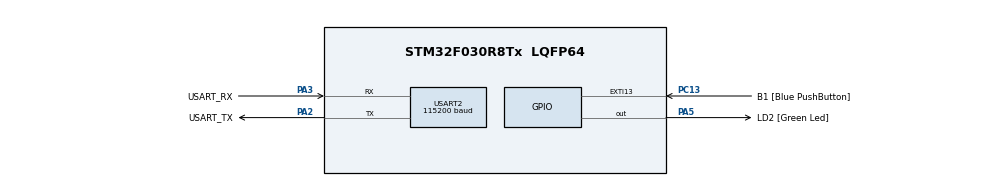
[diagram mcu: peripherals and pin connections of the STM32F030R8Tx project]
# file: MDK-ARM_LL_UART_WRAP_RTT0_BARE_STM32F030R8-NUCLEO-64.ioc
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Mcu.Family=STM32F0
Mcu.Name=STM32F030R8Tx
Mcu.Package=LQFP64
NVIC.USART2_IRQn=true\:0\:0\:false\:false\:true\:true\:true
PA13.GPIO_Label=TMS
PA13.Mode=Serial_Wire
PA13.Signal=SYS_SWDIO
PA14.GPIO_Label=TCK
PA14.Mode=Serial_Wire
PA14.Signal=SYS_SWCLK
PA2.GPIO_Label=USART_TX
PA2.GPIO_Mode=GPIO_MODE_AF_PP
PA2.GPIO_PuPd=GPIO_NOPULL
PA2.GPIO_Speed=GPIO_SPEED_FREQ_LOW
PA2.Mode=Asynchronous
PA2.Signal=USART2_TX
PA3.GPIO_Label=USART_RX
PA3.GPIO_Mode=GPIO_MODE_AF_PP
PA3.GPIO_PuPd=GPIO_NOPULL
PA3.GPIO_Speed=GPIO_SPEED_FREQ_LOW
PA3.Mode=Asynchronous
PA3.Signal=USART2_RX
PA5.GPIO_Label=LD2 [Green Led]
PA5.GPIO_Mode=GPIO_MODE_OUTPUT_PP
PA5.GPIO_PuPd=GPIO_NOPULL
PA5.GPIO_Speed=GPIO_SPEED_FREQ_LOW
PA5.Signal=GPIO_Output
PC13.GPIO_Label=B1 [Blue PushButton]
PC13.GPIO_ModeDefaultEXTI=GPIO_MODE_IT_FALLING
PC13.Signal=GPXTI13
PC14-OSC32_IN.Mode=LSE-External-Oscillator
PC14-OSC32_IN.Signal=RCC_OSC32_IN
PC15-OSC32_OUT.Mode=LSE-External-Oscillator
PC15-OSC32_OUT.Signal=RCC_OSC32_OUT
PF0-OSC_IN.Mode=HSE-External-Clock-Source
PF0-OSC_IN.Signal=RCC_OSC_IN
PF1-OSC_OUT.Signal=RCC_OSC_OUT
ProjectManager.HeapSize=0x200
ProjectManager.StackSize=0x400
ProjectManager.TargetToolchain=MDK-ARM V5.27
RCC.AHBFreq_Value=48000000
RCC.APB1Freq_Value=48000000
RCC.APB1TimFreq_Value=48000000
RCC.HCLKFreq_Value=48000000
RCC.PLLMUL=RCC_PLL_MUL12
RCC.SYSCLKFreq_VALUE=48000000
RCC.SYSCLKSource=RCC_SYSCLKSOURCE_PLLCLK
USART2.BaudRate=115200
USART2.VirtualMode-Asynchronous=VM_ASYNC
board=NUCLEO-F030R8

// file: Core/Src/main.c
/* USER CODE BEGIN Header */
/**
  ******************************************************************************
  * @file           : main.c
  * @brief          : Main program body
  ******************************************************************************
  * @attention
  *
  * <h2><center>&copy; Copyright (c) 2021 STMicroelectronics.
  * All rights reserved.</center></h2>
  *
  * This software component is licensed by ST under BSD 3-Clause license,
  * the "License"; You may not use this file except in compliance with the
  * License. You may obtain a copy of the License at:
  *                        opensource.org/licenses/BSD-3-Clause
  *
  ******************************************************************************
  */
/* USER CODE END Header */
#include "main.h"

/* USER CODE BEGIN Includes */
#include "trice.h"
/* USER CODE END Includes */

/* USER CODE BEGIN PV */
int milliSecond = 0;
/* USER CODE END PV */

void SystemClock_Config(void);
static void MX_GPIO_Init(void);
static void MX_USART2_UART_Init(void);

int main(void)
{
  /* USER CODE BEGIN 1 */
#ifdef ENCRYPT
    InitXteaTable();
#endif
  /* USER CODE END 1 */

  /* MCU Configuration--------------------------------------------------------*/

  /* Reset of all peripherals, Initializes the Flash interface and the Systick. */

  LL_APB1_GRP2_EnableClock(LL_APB1_GRP2_PERIPH_SYSCFG);
  LL_APB1_GRP1_EnableClock(LL_APB1_GRP1_PERIPH_PWR);

  /* System interrupt init*/

  /* Configure the system clock */
  SystemClock_Config();

  /* USER CODE BEGIN SysInit */
    SysTick->CTRL |= SysTick_CTRL_TICKINT_Msk; // enable SysTick interrupt
  /* USER CODE END SysInit */

  /* Initialize all configured peripherals */
  MX_GPIO_Init();
  MX_USART2_UART_Init();
  /* USER CODE BEGIN 2 */
    LL_USART_EnableIT_RXNE(TRICE_UART); // enable UART2 interrupt
    TRICE_HEADLINE;
  /* USER CODE END 2 */

  /* Infinite loop */
  /* USER CODE BEGIN WHILE */
  while (1)
  {
    static int lastTricesTime = 0;
    { // send some trices every few ms
        if( milliSecond >= lastTricesTime + 100 ){
            static int index = 0;
            int select = index % 30;
            TRICE_SYNC;
            TRICE16_2( Id(47663),"MSG: triceFifoMaxDepth = %d, select = %d\n", triceFifoMaxDepth, select );
            triceCheckSetTime(select);
            triceCheckSetSpace(select);
            index++;
            lastTricesTime = milliSecond;
        }
    }
    /* USER CODE END WHILE */

    /* USER CODE BEGIN 3 */
        { // serve every few ms
            static int lastMs = 0;
            if( milliSecond >= lastMs + 1 ){
                lastMs = milliSecond;
#ifdef TRICE_OUTPUT_WRAPPED
                triceServeFifoWrappedToBytesBuffer();
#else
			    triceServeFifoSyncedToBytesBuffer();
#endif
            }
        }
  }
  /* USER CODE END 3 */
}

void SystemClock_Config(void)
{
  LL_FLASH_SetLatency(LL_FLASH_LATENCY_1);
  while(LL_FLASH_GetLatency() != LL_FLASH_LATENCY_1)
  {
  }
  LL_RCC_HSI_Enable();

   /* Wait till HSI is ready */
  while(LL_RCC_HSI_IsReady() != 1)
  {

  }
  LL_RCC_HSI_SetCalibTrimming(16);
  LL_RCC_PLL_ConfigDomain_SYS(LL_RCC_PLLSOURCE_HSI_DIV_2, LL_RCC_PLL_MUL_12);
  LL_RCC_PLL_Enable();

   /* Wait till PLL is ready */
  while(LL_RCC_PLL_IsReady() != 1)
  {

  }
  LL_RCC_SetAHBPrescaler(LL_RCC_SYSCLK_DIV_1);
  LL_RCC_SetAPB1Prescaler(LL_RCC_APB1_DIV_1);
  LL_RCC_SetSysClkSource(LL_RCC_SYS_CLKSOURCE_PLL);

   /* Wait till System clock is ready */
  while(LL_RCC_GetSysClkSource() != LL_RCC_SYS_CLKSOURCE_STATUS_PLL)
  {

  }
  LL_Init1msTick(48000000);
  LL_SetSystemCoreClock(48000000);
}

static void MX_USART2_UART_Init(void)
{

  LL_USART_InitTypeDef USART_InitStruct = {0};

  LL_GPIO_InitTypeDef GPIO_InitStruct = {0};

  /* Peripheral clock enable */
  LL_APB1_GRP1_EnableClock(LL_APB1_GRP1_PERIPH_USART2);

  LL_AHB1_GRP1_EnableClock(LL_AHB1_GRP1_PERIPH_GPIOA);
  /**USART2 GPIO Configuration
  PA2   ------> USART2_TX
  PA3   ------> USART2_RX
  */
  GPIO_InitStruct.Pin = USART_TX_Pin;
  GPIO_InitStruct.Mode = LL_GPIO_MODE_ALTERNATE;
  GPIO_InitStruct.Speed = LL_GPIO_SPEED_FREQ_LOW;
  GPIO_InitStruct.OutputType = LL_GPIO_OUTPUT_PUSHPULL;
  GPIO_InitStruct.Pull = LL_GPIO_PULL_NO;
  GPIO_InitStruct.Alternate = LL_GPIO_AF_1;
  LL_GPIO_Init(USART_TX_GPIO_Port, &GPIO_InitStruct);

  GPIO_InitStruct.Pin = USART_RX_Pin;
  GPIO_InitStruct.Mode = LL_GPIO_MODE_ALTERNATE;
  GPIO_InitStruct.Speed = LL_GPIO_SPEED_FREQ_LOW;
  GPIO_InitStruct.OutputType = LL_GPIO_OUTPUT_PUSHPULL;
  GPIO_InitStruct.Pull = LL_GPIO_PULL_NO;
  GPIO_InitStruct.Alternate = LL_GPIO_AF_1;
  LL_GPIO_Init(USART_RX_GPIO_Port, &GPIO_InitStruct);

  /* USART2 interrupt Init */
  NVIC_SetPriority(USART2_IRQn, 0);
  NVIC_EnableIRQ(USART2_IRQn);

  USART_InitStruct.BaudRate = 115200;
  USART_InitStruct.DataWidth = LL_USART_DATAWIDTH_8B;
  USART_InitStruct.StopBits = LL_USART_STOPBITS_1;
  USART_InitStruct.Parity = LL_USART_PARITY_NONE;
  USART_InitStruct.TransferDirection = LL_USART_DIRECTION_TX_RX;
  USART_InitStruct.HardwareFlowControl = LL_USART_HWCONTROL_NONE;
  USART_InitStruct.OverSampling = LL_USART_OVERSAMPLING_16;
  LL_USART_Init(USART2, &USART_InitStruct);
  LL_USART_DisableIT_CTS(USART2);
  LL_USART_ConfigAsyncMode(USART2);
  LL_USART_Enable(USART2);

}

static void MX_GPIO_Init(void)
{
  LL_EXTI_InitTypeDef EXTI_InitStruct = {0};
  LL_GPIO_InitTypeDef GPIO_InitStruct = {0};

  /* GPIO Ports Clock Enable */
  LL_AHB1_GRP1_EnableClock(LL_AHB1_GRP1_PERIPH_GPIOC);
  LL_AHB1_GRP1_EnableClock(LL_AHB1_GRP1_PERIPH_GPIOF);
  LL_AHB1_GRP1_EnableClock(LL_AHB1_GRP1_PERIPH_GPIOA);

  /**/
  LL_GPIO_ResetOutputPin(LD2_GPIO_Port, LD2_Pin);

  /**/
  LL_SYSCFG_SetEXTISource(LL_SYSCFG_EXTI_PORTC, LL_SYSCFG_EXTI_LINE13);

  /**/
  LL_GPIO_SetPinPull(B1_GPIO_Port, B1_Pin, LL_GPIO_PULL_NO);

  /**/
  LL_GPIO_SetPinMode(B1_GPIO_Port, B1_Pin, LL_GPIO_MODE_INPUT);

  /**/
  EXTI_InitStruct.Line_0_31 = LL_EXTI_LINE_13;
  EXTI_InitStruct.LineCommand = ENABLE;
  EXTI_InitStruct.Mode = LL_EXTI_MODE_IT;
  EXTI_InitStruct.Trigger = LL_EXTI_TRIGGER_FALLING;
  LL_EXTI_Init(&EXTI_InitStruct);

  /**/
  GPIO_InitStruct.Pin = LD2_Pin;
  GPIO_InitStruct.Mode = LL_GPIO_MODE_OUTPUT;
  GPIO_InitStruct.Speed = LL_GPIO_SPEED_FREQ_LOW;
  GPIO_InitStruct.OutputType = LL_GPIO_OUTPUT_PUSHPULL;
  GPIO_InitStruct.Pull = LL_GPIO_PULL_NO;
  LL_GPIO_Init(LD2_GPIO_Port, &GPIO_InitStruct);

}

void Error_Handler(void)
{
  __disable_irq();
  while (1)
  {
  }
}

/************************ (C) COPYRIGHT STMicroelectronics *****END OF FILE****/
